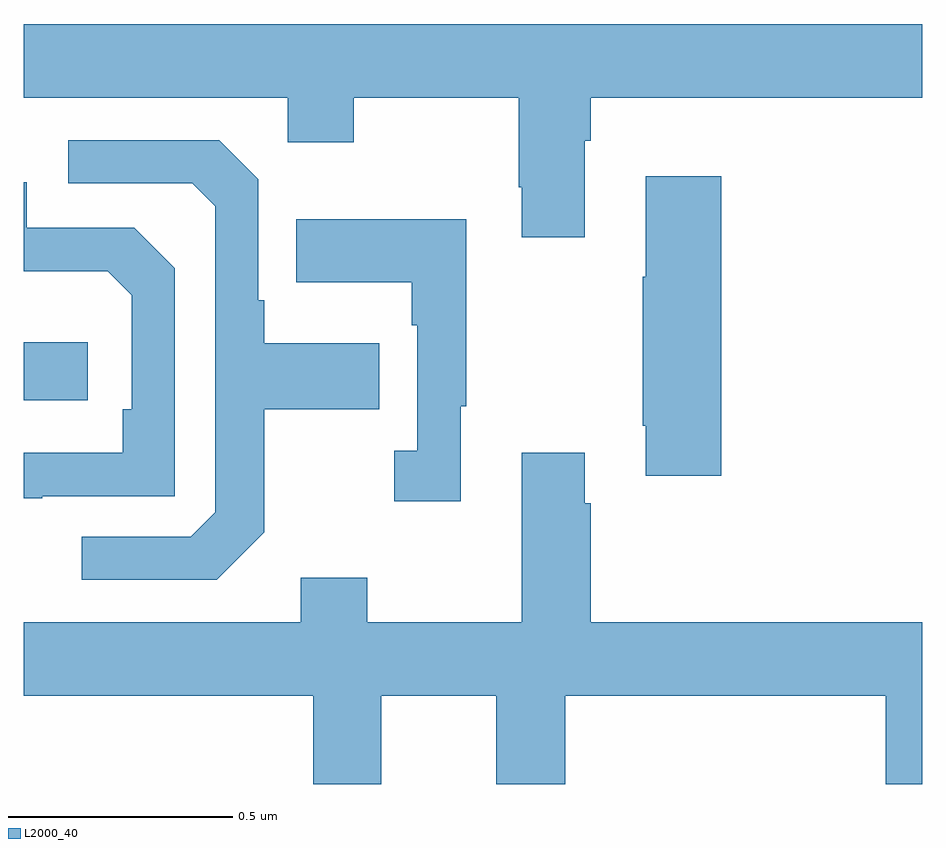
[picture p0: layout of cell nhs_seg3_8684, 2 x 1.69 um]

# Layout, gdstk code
import gdstk
lib = gdstk.Library(unit=1e-6, precision=1e-09)
def R(c, l, rs):  # rectangles x0, y0, x1, y1
    for r in rs: c.add(gdstk.rectangle(r[:2], r[2:], *l))
def P(c, l, *ps):  # polygons
    for p in ps: c.add(gdstk.Polygon(p, *l))
L2000_40 = (2000, 40)

nhs_seg3_8684 = lib.new_cell('nhs_seg3_8684')
R(nhs_seg3_8684, L2000_40, [(219,688.254,219.142,688.384)])
P(nhs_seg3_8684, L2000_40, [(220.249,688.832),(220.262,688.832),(220.262,688.928),(221,688.928),(221,689.092),(219,689.092),(219,688.928),(219.588,688.928),(219.588,688.829),(219.735,688.829),(219.735,688.928),(220.102,688.928),(220.102,688.729),(220.109,688.729),(220.109,688.617),(220.249,688.617)],
  [(219.535,687.961),(219.535,688.234),(219.791,688.234),(219.791,688.381),(219.535,688.381),(219.535,688.477),(219.522,688.477),(219.522,688.746),(219.435,688.833),(219.099,688.833),(219.099,688.737),(219.375,688.737),(219.426,688.686),(219.426,688.005),(219.372,687.951),(219.129,687.951),(219.129,687.855),(219.429,687.855)],
  [(220.553,688.753),(220.385,688.753),(220.385,688.529),(220.378,688.529),(220.378,688.198),(220.385,688.198),(220.385,688.086),(220.553,688.086)],
  [(219.041,688.041),(219.336,688.041),(219.336,688.548),(219.246,688.638),(219.006,688.638),(219.006,688.74),(219,688.74),(219,688.541),(219.187,688.541),(219.24,688.488),(219.24,688.234),(219.22,688.234),(219.22,688.137),(219,688.137),(219,688.036),(219.041,688.036)],
  [(219.973,688.241),(219.985,688.241),(219.985,688.657),(219.607,688.657),(219.607,688.517),(219.864,688.517),(219.864,688.421),(219.876,688.421),(219.876,688.142),(219.825,688.142),(219.825,688.029),(219.973,688.029)],
  [(219.796,687.596),(220.052,687.596),(220.052,687.4),(220.205,687.4),(220.205,687.596),(220.919,687.596),(220.919,687.4),(221,687.4),(221,687.76),(220.262,687.76),(220.262,688.025),(220.249,688.025),(220.249,688.138),(220.109,688.138),(220.109,687.76),(219.765,687.76),(219.765,687.859),(219.617,687.859),(219.617,687.76),(219,687.76),(219,687.596),(219.644,687.596),(219.644,687.4),(219.796,687.4)])

lib.write_gds('nhs_seg3_8684.gds')
